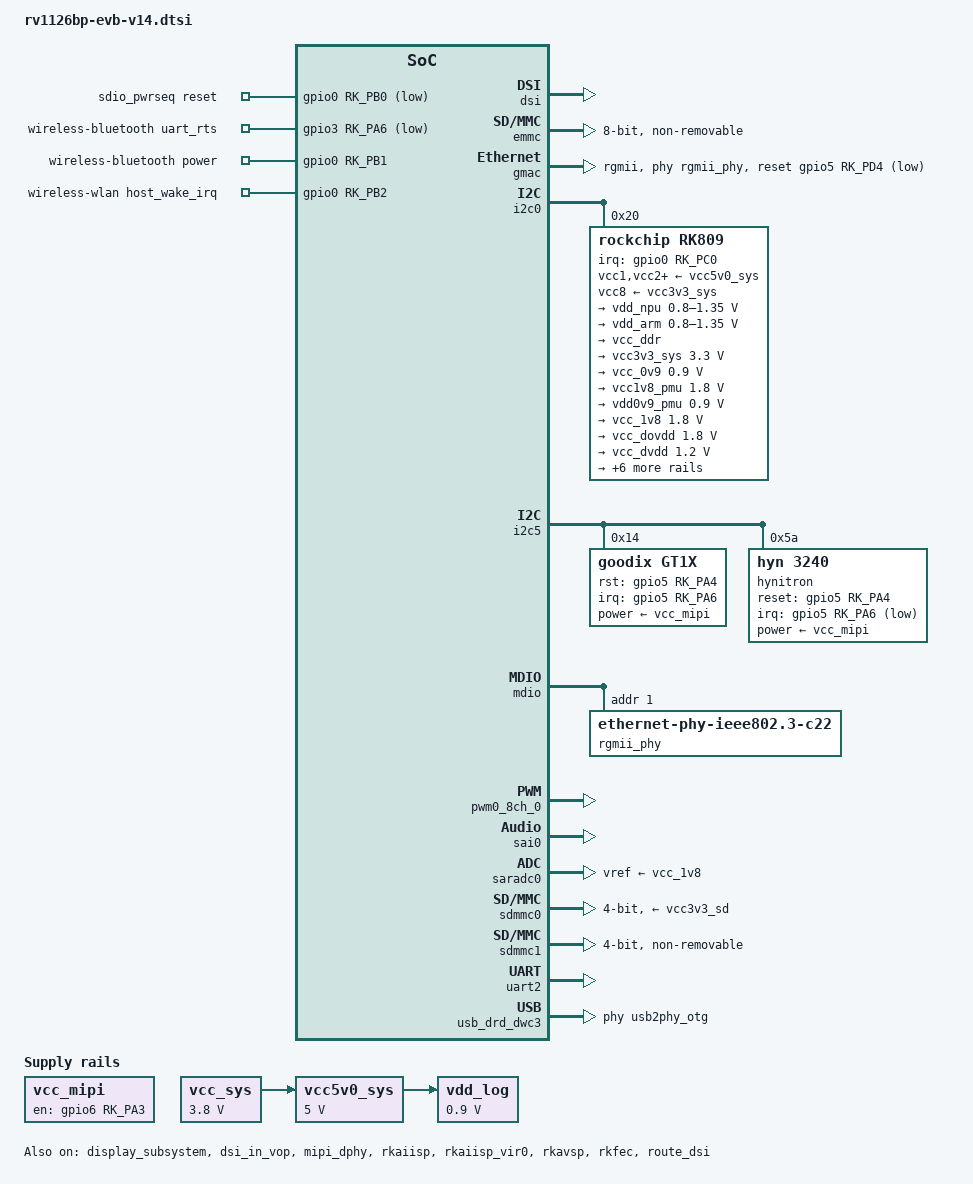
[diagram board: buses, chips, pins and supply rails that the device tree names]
// SPDX-License-Identifier: (GPL-2.0+ OR MIT)
/*
 * Copyright (c) 2025 Rockchip Electronics Co., Ltd.
 */

/ {
	rk809_sound: rk809-sound {
		compatible = "simple-audio-card";
		simple-audio-card,format = "i2s";
		simple-audio-card,name = "rockchip,rk809-codec";
		simple-audio-card,mclk-fs = <256>;
		simple-audio-card,cpu {
			sound-dai = <&sai0>;
		};
		simple-audio-card,codec {
			sound-dai = <&rk809_codec>;
		};
	};

	sdio_pwrseq: sdio-pwrseq {
		compatible = "mmc-pwrseq-simple";
		pinctrl-names = "default";
		pinctrl-0 = <&wifi_enable_h>;

		/*
		 * On the module itself this is one of these (depending
		 * on the actual card populated):
		 * - SDIO_RESET_L_WL_REG_ON
		 * - PDN (power down when low)
		 */
		reset-gpios = <&gpio0 RK_PB0 GPIO_ACTIVE_LOW>;
	};

	vcc_mipi: vcc-mipi {
		compatible = "regulator-fixed";
		regulator-name = "vcc_mipi";
		gpio = <&gpio6 RK_PA3 GPIO_ACTIVE_HIGH>;
		enable-active-high;
		regulator-boot-on;
	};

	vcc_sys: vcc-sys {
		compatible = "regulator-fixed";
		regulator-name = "vcc_sys";
		regulator-always-on;
		regulator-boot-on;
		regulator-min-microvolt = <3800000>;
		regulator-max-microvolt = <3800000>;
	};

	vcc5v0_sys: vcc5v0-sys {
		compatible = "regulator-fixed";
		regulator-name = "vcc5v0_sys";
		regulator-always-on;
		regulator-boot-on;
		regulator-min-microvolt = <5000000>;
		regulator-max-microvolt = <5000000>;
		vin-supply = <&vcc_sys>;
	};

	vdd_log: vdd-log {
		compatible = "regulator-fixed";
		regulator-name = "vdd_log";
		regulator-always-on;
		regulator-boot-on;
		regulator-min-microvolt = <900000>;
		regulator-max-microvolt = <900000>;
		vin-supply = <&vcc5v0_sys>;
	};

	wireless-bluetooth {
		compatible = "bluetooth-platdata";
		uart_rts_gpios = <&gpio3 RK_PA6 GPIO_ACTIVE_LOW>;
		pinctrl-names = "default", "rts_gpio";
		pinctrl-0 = <&uart2m0_rtsn_pins>;
		pinctrl-1 = <&uart2_gpios>;
		BT,power_gpio = <&gpio0 RK_PB1 GPIO_ACTIVE_HIGH>;
		status = "okay";
	};

	wireless-wlan {
		compatible = "wlan-platdata";
		rockchip,grf = <&grf>;
		pinctrl-names = "default";
		pinctrl-0 = <&wifi_wake_host>;
		wifi_chip_type = "rk96x";
		WIFI,host_wake_irq = <&gpio0 RK_PB2 GPIO_ACTIVE_HIGH>;
		status = "okay";
	};
};

&backlight {
	pwms = <&pwm0_8ch_0 0 25000 0>;
};

&cpu0 {
	cpu-supply = <&vdd_arm>;
};

&display_subsystem {
	status = "okay";
};

&dsi {
	status = "okay";
};

&dsi_in_vop {
	status = "okay";
};

&dsi_panel {
	power-supply = <&vcc_mipi>;
};

&emmc {
	bus-width = <8>;
	cap-mmc-highspeed;
	non-removable;
	mmc-hs200-1_8v;
	rockchip,default-sample-phase = <90>;
	no-sdio;
	no-sd;
	status = "okay";
};

&gmac {
	phy-mode = "rgmii";
	clock_in_out = "output";

	snps,reset-gpio = <&gpio5 RK_PD4 GPIO_ACTIVE_LOW>;
	snps,reset-active-low;
	/* Reset time is 20ms, 100ms for rtl8211f */
	snps,reset-delays-us = <0 20000 100000>;

	assigned-clocks = <&cru CLK_MAC_OUT2IO>;
	assigned-clock-rates = <25000000>;

	pinctrl-names = "default";
	pinctrl-0 = <&ethm1_miim_pins
		     &ethm1_tx_bus2_pins
		     &ethm1_rx_bus2_pins
		     &ethm1_rgmii_clk_pins
		     &ethm1_rgmii_bus_pins
		     &eth_clk_25mm1_out_pins>;

	tx_delay = <0x36>;
	rx_delay = <0x2c>;

	phy-handle = <&rgmii_phy>;
	status = "okay";
};

&i2c0 {
	status = "okay";

	rk809: pmic@20 {
		compatible = "rockchip,rk809";
		reg = <0x20>;
		interrupt-parent = <&gpio0>;
		interrupts = <RK_PC0 IRQ_TYPE_LEVEL_LOW>;
		pinctrl-names = "default", "pmic-sleep",
				"pmic-power-off";
		pinctrl-0 = <&pmic_int>;
		pinctrl-1 = <&soc_slppin_gpio>;
		pinctrl-2 = <&soc_slppin_gpio>;
		rockchip,system-power-controller;
		wakeup-source;
		#clock-cells = <1>;
		clock-output-names = "rk808-clkout2";
		//fb-inner-reg-idxs = <2>;
		/* 1: rst regs (default in codes), 0: rst the pmic */
		pmic-reset-func = <1>;

		vcc1-supply = <&vcc5v0_sys>;
		vcc2-supply = <&vcc5v0_sys>;
		vcc3-supply = <&vcc5v0_sys>;
		vcc4-supply = <&vcc5v0_sys>;
		vcc5-supply = <&vcc5v0_sys>;
		vcc6-supply = <&vcc5v0_sys>;
		vcc7-supply = <&vcc5v0_sys>;
		vcc8-supply = <&vcc3v3_sys>;
		vcc9-supply = <&vcc5v0_sys>;

		pwrkey {
			status = "okay";
		};

		pinctrl_rk8xx: pinctrl_rk8xx {
			gpio-controller;
			#gpio-cells = <2>;

			rk817_slppin_null: rk817_slppin_null {
				pins = "gpio_slp";
				function = "pin_fun0";
			};

			rk817_slppin_slp: rk817_slppin_slp {
				pins = "gpio_slp";
				function = "pin_fun1";
			};

			rk817_slppin_pwrdn: rk817_slppin_pwrdn {
				pins = "gpio_slp";
				function = "pin_fun2";
			};

			rk817_slppin_rst: rk817_slppin_rst {
				pins = "gpio_slp";
				function = "pin_fun3";
			};
		};

		regulators {
			vdd_npu: vdd_epu: DCDC_REG1 {
				regulator-always-on;
				regulator-boot-on;
				regulator-min-microvolt = <800000>;
				regulator-max-microvolt = <1350000>;
				regulator-ramp-delay = <6001>;
				regulator-initial-mode = <0x2>;
				regulator-name = "vdd_npu";
				regulator-state-mem {
					regulator-on-in-suspend;
					regulator-suspend-microvolt = <950000>;
				};
			};

			vdd_arm: DCDC_REG2 {
				regulator-always-on;
				regulator-boot-on;
				regulator-min-microvolt = <800000>;
				regulator-max-microvolt = <1350000>;
				regulator-ramp-delay = <6001>;
				regulator-initial-mode = <0x2>;
				regulator-name = "vdd_arm";
				regulator-state-mem {
					regulator-off-in-suspend;
				};
			};

			vcc_ddr: DCDC_REG3 {
				regulator-always-on;
				regulator-boot-on;
				regulator-initial-mode = <0x2>;
				regulator-name = "vcc_ddr";
				regulator-state-mem {
					regulator-on-in-suspend;
				};
			};

			vcc3v3_sys: DCDC_REG4 {
				regulator-always-on;
				regulator-boot-on;
				regulator-min-microvolt = <3300000>;
				regulator-max-microvolt = <3300000>;
				regulator-initial-mode = <0x2>;
				regulator-name = "vcc3v3_sys";
				regulator-state-mem {
					regulator-off-in-suspend;
					regulator-suspend-microvolt = <3000000>;
				};
			};

			vcc_0v9: LDO_REG1 {
				regulator-always-on;
				regulator-boot-on;
				regulator-min-microvolt = <900000>;
				regulator-max-microvolt = <900000>;
				regulator-name = "vcc_0v9";
				regulator-state-mem {
					regulator-on-in-suspend;
					regulator-suspend-microvolt = <900000>;
				};
			};

			vcc1v8_pmu: LDO_REG2 {
				regulator-always-on;
				regulator-boot-on;
				regulator-min-microvolt = <1800000>;
				regulator-max-microvolt = <1800000>;
				regulator-name = "vcc1v8_pmu";
				regulator-state-mem {
					regulator-on-in-suspend;
					regulator-suspend-microvolt = <1800000>;
				};
			};

			vdd0v9_pmu: LDO_REG3 {
				regulator-always-on;
				regulator-boot-on;
				regulator-min-microvolt = <900000>;
				regulator-max-microvolt = <900000>;
				regulator-name = "vcc0v9_pmu";
				regulator-state-mem {
					regulator-on-in-suspend;
					regulator-suspend-microvolt = <900000>;
				};
			};

			vcc_1v8: LDO_REG4 {
				regulator-always-on;
				regulator-boot-on;
				regulator-min-microvolt = <1800000>;
				regulator-max-microvolt = <1800000>;
				regulator-name = "vcc_1v8";
				regulator-state-mem {
					regulator-off-in-suspend;
					regulator-suspend-microvolt = <1800000>;
				};
			};

			vcc_dovdd: LDO_REG5 {
				regulator-always-on;
				regulator-boot-on;
				regulator-min-microvolt = <1800000>;
				regulator-max-microvolt = <1800000>;
				regulator-name = "vcc_dovdd";
				regulator-state-mem {
					regulator-off-in-suspend;
					regulator-suspend-microvolt = <1800000>;
				};
			};

			vcc_dvdd: LDO_REG6 {
				regulator-always-on;
				regulator-boot-on;
				regulator-min-microvolt = <1200000>;
				regulator-max-microvolt = <1200000>;
				regulator-name = "vcc_dvdd";
				regulator-state-mem {
					regulator-off-in-suspend;
					regulator-suspend-microvolt = <1200000>;
				};
			};

			vcc_avdd: LDO_REG7 {
				regulator-always-on;
				regulator-boot-on;
				regulator-min-microvolt = <2800000>;
				regulator-max-microvolt = <2800000>;
				regulator-name = "vcc_avdd";
				regulator-state-mem {
					regulator-off-in-suspend;
					regulator-suspend-microvolt = <2800000>;
				};
			};

			vccio_sd: LDO_REG8 {
				regulator-always-on;
				regulator-boot-on;
				regulator-min-microvolt = <1800000>;
				regulator-max-microvolt = <3300000>;
				regulator-name = "vccio_sd";
				regulator-state-mem {
					regulator-off-in-suspend;
					regulator-suspend-microvolt = <3300000>;
				};
			};

			vcc3v3_sd: LDO_REG9 {
				regulator-always-on;
				regulator-boot-on;
				regulator-min-microvolt = <3300000>;
				regulator-max-microvolt = <3300000>;
				regulator-name = "vcc3v3_sd";
				regulator-state-mem {
					regulator-off-in-suspend;
					regulator-suspend-microvolt = <3300000>;
				};
			};

			vcc_buck5: DCDC_REG5 {
				regulator-always-on;
				regulator-boot-on;
				regulator-min-microvolt = <2200000>;
				regulator-max-microvolt = <2200000>;
				regulator-name = "vcc_buck5";
				regulator-state-mem {
					regulator-on-in-suspend;
					regulator-suspend-microvolt = <2200000>;
				};
			};

			vcc5v0_host: SWITCH_REG1 {
				regulator-always-on;
				regulator-boot-on;
				regulator-name = "vcc5v0_host";
			};

			vcc_3v3: SWITCH_REG2 {
				regulator-always-on;
				regulator-boot-on;
				regulator-name = "vcc_3v3";
			};
		};

		rk809_codec: codec {
			#sound-dai-cells = <0>;
			compatible = "rockchip,rk809-codec", "rockchip,rk817-codec";
			clocks = <&sai0_mclkout>;
			clock-names = "mclk";
			assigned-clocks = <&sai0_mclkout>;
			assigned-clock-rates = <12288000>;
			pinctrl-names = "default";
			pinctrl-0 = <&sai0m0_mclk_pins>;
			hp-volume = <20>;
			spk-volume = <3>;
		};
	};
};

&i2c5 {
	pinctrl-0 = <&i2c5m2_pins>;
	status = "okay";

	gt1x: gt1x@14 {
		compatible = "goodix,gt1x";
		reg = <0x14>;
		pinctrl-names = "default";
		gtp_ics_slot_report;
		power-supply = <&vcc_mipi>;
		goodix,rst-gpio = <&gpio5 RK_PA4 GPIO_ACTIVE_HIGH>;
		goodix,irq-gpio = <&gpio5 RK_PA6 IRQ_TYPE_LEVEL_LOW>;
	};

	hynitron: hynitron@5a {
		compatible = "hyn,3240";
		reg = <0x5a>;
		power-supply = <&vcc_mipi>;

		pinctrl-names = "ts_active","ts_suspend";
		pinctrl-0 = <&ts_int_active &ts_reset_active>;
		pinctrl-1 = <&ts_int_suspend &ts_reset_suspend>;

		reset-gpios = <&gpio5 RK_PA4 GPIO_ACTIVE_HIGH>;
		irq-gpios = <&gpio5 RK_PA6 GPIO_ACTIVE_LOW>;

		max-touch-number = <5>;
		display-coords = <0 0 1080 1920>;
		pos-swap = <0>;
		posx-reverse = <0>;
		posy-reverse = <0>;
	};
};

&mdio {
	rgmii_phy: phy@1 {
		compatible = "ethernet-phy-ieee802.3-c22";
		reg = <0x1>;
		clocks = <&cru CLK_MAC_OUT2IO>;
	};
};

&mipi_dphy {
	status = "okay";
};

&pinctrl {
	pmic {
		pmic_int: pmic_int {
			rockchip,pins =
				<0 RK_PC0 RK_FUNC_GPIO &pcfg_pull_up>;
		};

		soc_slppin_gpio: soc_slppin_gpio {
			rockchip,pins =
				<0 RK_PC1 RK_FUNC_GPIO &pcfg_output_low>;
		};
	};

	sdio-pwrseq {
		wifi_enable_h: wifi-enable-h {
			rockchip,pins = <0 RK_PB0 RK_FUNC_GPIO &pcfg_pull_none>;
		};
	};

	touch {
		ts_int_active: ts_int_active {
			rockchip,pins = <5 RK_PA6 RK_FUNC_GPIO &pcfg_pull_up>;
		};

		ts_reset_active: ts_reset_active {
			rockchip,pins = <5 RK_PA4 RK_FUNC_GPIO &pcfg_pull_up>;
		};

		ts_int_suspend: ts_int_suspend {
			rockchip,pins = <5 RK_PA6 RK_FUNC_GPIO &pcfg_pull_down>;
		};

		ts_reset_suspend: ts_reset_suspend {
			rockchip,pins = <5 RK_PA4 RK_FUNC_GPIO &pcfg_pull_down>;
		};
	};

	wireless-bluetooth {
		uart2_gpios: uart2-gpios {
			rockchip,pins = <3 RK_PA6 RK_FUNC_GPIO &pcfg_pull_none>;
		};
	};

	wireless-wlan {
		wifi_wake_host: wifi-wake-host {
			rockchip,pins = <0 RK_PB2 RK_FUNC_GPIO &pcfg_pull_up>;
		};
	};
};

&pwm0_8ch_0 {
	status = "okay";
};

&rkaiisp {
	status = "okay";
};

&rkaiisp_mmu {
	status = "okay";
};

&rkaiisp_vir0 {
	status = "okay";
};

&rkavsp {
	status = "okay";
};

&rkavsp_mmu {
	status = "okay";
};

&rkfec {
	status = "okay";
};

&rkfec_mmu {
	status = "okay";
};

&rknpu {
	rknpu-supply = <&vdd_npu>;
};

&route_dsi {
	status = "okay";
};

&sai0 {
	status = "okay";
	rockchip,sai-rx-route = <3 1 2 0>;
	pinctrl-names = "default";
	pinctrl-0 = <&sai0m0_lrck_pins
		     &sai0m0_sclk_pins
		     &sai0m0_sdi3_pins
		     &sai0m0_sdo0_pins>;
};

&sai0_mclkout {
	status = "okay";
};

&saradc0 {
	vref-supply = <&vcc_1v8>;
};

&sdmmc0 {
	max-frequency = <200000000>;
	no-sdio;
	no-mmc;
	bus-width = <4>;
	cap-mmc-highspeed;
	cap-sd-highspeed;
	disable-wp;
	sd-uhs-sdr104;
	vmmc-supply = <&vcc3v3_sd>;
	vqmmc-supply = <&vccio_sd>;
	status = "okay";
};

&sdmmc1 {
	bus-width = <4>;
	cap-sd-highspeed;
	no-sd;
	no-mmc;
	max-frequency = <200000000>;
	pinctrl-names = "default";
	pinctrl-0 = <&sdmmc1_clk_pins &sdmmc1_cmd_pins &sdmmc1_bus4_pins>;
	keep-power-in-suspend;
	non-removable;
	mmc-pwrseq = <&sdio_pwrseq>;
	sd-uhs-sdr104;
	status = "okay";
};

&uart2 {
	status = "okay";
	pinctrl-names = "default";
	pinctrl-0 = <&uart2m0_xfer_pins &uart2m0_ctsn_pins>;
};

&usb2phy_host {
	phy-supply = <&vcc5v0_host>;
};

&usb_drd_dwc3 {
	extcon = <&usb2phy>;
	phys = <&usb2phy_otg>;
	phy-names = "usb2-phy";
	maximum-speed = "high-speed";
	snps,dis_u2_susphy_quirk;
	snps,usb2-lpm-disable;
	snps,usb2-gadget-lpm-disable;
};
